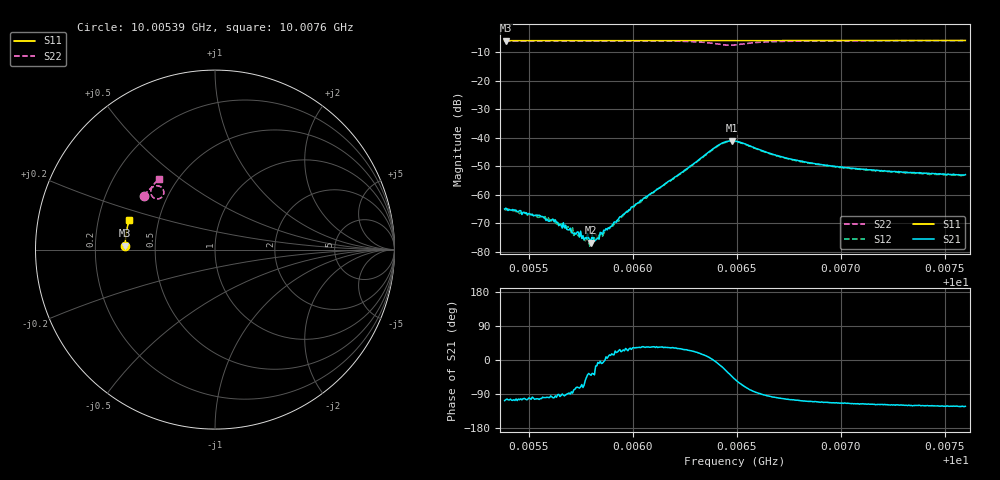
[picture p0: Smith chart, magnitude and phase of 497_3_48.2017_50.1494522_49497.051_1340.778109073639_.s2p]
#  HZ  S  RI  R  50.00
! Rohde & Schwarz Vector Network Analyzer
! Rohde-Schwarz,ZNB20-2Port,1311601062101988,3.16
! Created: UTC 3/20/2024, 11:58:19 AM
! freq[Hz]  re:S11  im:S11  re:S21  im:S21  re:S12  im:S12  re:S22  im:S22
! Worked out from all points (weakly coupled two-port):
!   401 points, 10.00539 GHz to 10.0076 GHz, reference 50 ohm
!   highest |S21| = -41.15 dB at 10.00647 GHz (marker M1); lowest = -76.9 dB at 10.0058 GHz (marker M2)
!   lowest |S11| = -6.0 dB at 10.00539 GHz (marker M3), VSWR 3.01, Z = 16.6 + j0.988 ohm
!   |S11| at or under -10 dB: nowhere
!   |S22| runs from -7.6 to -6.0 dB; largest |S21 - S12| = 0.00056
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1.0005385e10  -0.5003 0.022  -0.000165 -0.000532  -9.75e-05 -0.000539  -0.3952 0.2999
1.0005391e10  -0.5003 0.0222  -0.000147 -0.000556  -0.000117 -0.000524  -0.3949 0.3
1.0005545e10  -0.5 0.0325  -9.31e-05 -0.000416  -7.77e-05 -0.000389  -0.3883 0.3092
1.0005584e10  -0.5001 0.0349  -5.44e-05 -0.000346  -6.75e-05 -0.00037  -0.3868 0.3116
1.0005628e10  -0.4999 0.0378  -3.01e-05 -0.000358  -1.87e-05 -0.000326  -0.3848 0.3142
1.00057e10  -0.4998 0.0424  8.02e-07 -0.000257  3.37e-05 -0.00025  -0.3813 0.3185
1.0005728e10  -0.4996 0.0443  5.98e-05 -0.000194  4.88e-05 -0.000188  -0.3798 0.3202
1.0005756e10  -0.4995 0.0462  7.23e-05 -0.000153  7.68e-05 -0.000168  -0.3784 0.3221
1.0005794e10  -0.4994 0.0485  0.000128 -9.97e-05  8.91e-05 -8.64e-05  -0.3762 0.3243
1.00058e10  -0.4993 0.0489  0.000108 -9.2e-05  0.000131 -8.02e-05  -0.376 0.3248
1.0005828e10  -0.4992 0.0507  0.00016 -4.46e-05  0.000183 -5.16e-05  -0.3744 0.3265
1.0005855e10  -0.4991 0.0526  0.000195 -2.79e-05  0.000183 -2.91e-05  -0.3729 0.3282
1.0005889e10  -0.4988 0.0546  0.000246 5.77e-05  0.000258 4.51e-05  -0.3709 0.3305
1.0006005e10  -0.4982 0.0623  0.000522 0.000334  0.000491 0.000341  -0.363 0.3381
1.0006126e10  -0.4974 0.0702  0.00107 0.000721  0.00103 0.000774  -0.3519 0.3468
1.0006403e10  -0.4945 0.0879  0.00694 -0.000788  0.00681 -0.000418  -0.2882 0.3328
1.0006475e10  -0.4936 0.0918  0.00643 -0.00595  0.00665 -0.00544  -0.301 0.2886
1.0006492e10  -0.4937 0.0929  0.00546 -0.00675  0.00569 -0.00629  -0.3117 0.2836
1.0006702e10  -0.492 0.1062  -0.000857 -0.00465  -0.000642 -0.00463  -0.3577 0.3273
1.0006862e10  -0.49 0.1166  -0.0012 -0.00336  -0.00102 -0.00337  -0.3508 0.3479
1.0007233e10  -0.4847 0.14  -0.00123 -0.00226  -0.00109 -0.00228  -0.3311 0.3744
1.0007598e10  -0.4784 0.1626  -0.00119 -0.00189  -0.00107 -0.00189  -0.3122 0.3934
